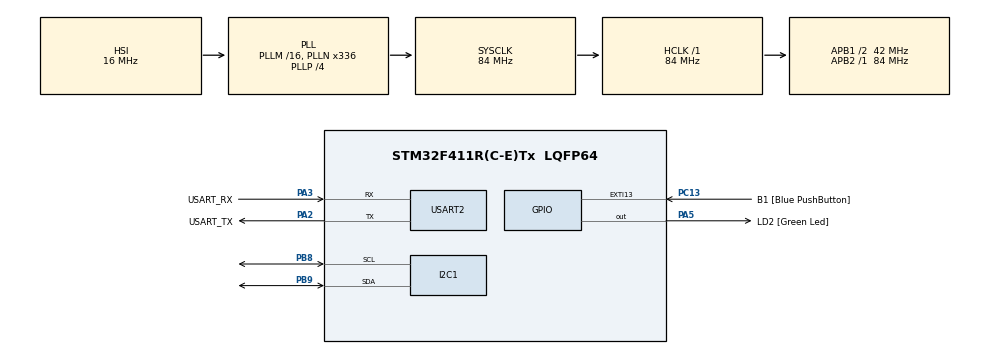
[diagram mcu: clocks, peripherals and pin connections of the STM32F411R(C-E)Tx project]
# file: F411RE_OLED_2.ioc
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Mcu.Family=STM32F4
Mcu.Name=STM32F411R(C-E)Tx
Mcu.Package=LQFP64
NVIC.PriorityGroup=NVIC_PRIORITYGROUP_0
PA13.GPIO_Label=TMS
PA13.Mode=Serial_Wire
PA13.Signal=SYS_JTMS-SWDIO
PA14.GPIO_Label=TCK
PA14.Mode=Serial_Wire
PA14.Signal=SYS_JTCK-SWCLK
PA2.GPIO_Label=USART_TX
PA2.Mode=Asynchronous
PA2.Signal=USART2_TX
PA3.GPIO_Label=USART_RX
PA3.Mode=Asynchronous
PA3.Signal=USART2_RX
PA5.GPIO_Label=LD2 [Green Led]
PA5.Signal=GPIO_Output
PB3.GPIO_Label=SWO
PB3.Signal=SYS_JTDO-SWO
PB8.GPIO_Pu=GPIO_PULLUP
PB8.Mode=I2C
PB8.Signal=I2C1_SCL
PB9.GPIO_Pu=GPIO_PULLUP
PB9.Mode=I2C
PB9.Signal=I2C1_SDA
PC13-ANTI_TAMP.GPIO_Label=B1 [Blue PushButton]
PC13-ANTI_TAMP.GPIO_ModeDefaultEXTI=GPIO_MODE_IT_FALLING
PC13-ANTI_TAMP.Signal=GPXTI13
PC14-OSC32_IN.Mode=LSE-External-Oscillator
PC14-OSC32_IN.Signal=RCC_OSC32_IN
PC15-OSC32_OUT.Mode=LSE-External-Oscillator
PC15-OSC32_OUT.Signal=RCC_OSC32_OUT
PH0\ -\ OSC_IN.Mode=HSE-External-Clock-Source
PH0\ -\ OSC_IN.Signal=RCC_OSC_IN
PH1\ -\ OSC_OUT.Mode=HSE-External-Clock-Source
PH1\ -\ OSC_OUT.Signal=RCC_OSC_OUT
ProjectManager.HeapSize=0x200
ProjectManager.StackSize=0x400
ProjectManager.TargetToolchain=STM32CubeIDE
RCC.48MHZClocksFreq_Value=84000000
RCC.AHBFreq_Value=84000000
RCC.APB1CLKDivider=RCC_HCLK_DIV2
RCC.APB1Freq_Value=42000000
RCC.APB1TimFreq_Value=84000000
RCC.APB2Freq_Value=84000000
RCC.APB2TimFreq_Value=84000000
RCC.CortexFreq_Value=84000000
RCC.FLatency-AdvancedSettings=FLASH_LATENCY_2
RCC.HCLKFreq_Value=84000000
RCC.HSE_VALUE=8000000
RCC.HSI_VALUE=16000000
RCC.PLLN=336
RCC.PLLP=RCC_PLLP_DIV4
RCC.SYSCLKFreq_VALUE=84000000
RCC.SYSCLKSource=RCC_SYSCLKSOURCE_PLLCLK
RCC.VCOOutputFreq_Value=336000000
USART2.VirtualMode=VM_ASYNC
board=NUCLEO-F411RE

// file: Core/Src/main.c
/* USER CODE BEGIN Header */
/**
 ******************************************************************************
 * @file           : main.c
 * @brief          : Main program body
 ******************************************************************************
 * @attention
 *
 * Copyright (c) 2025 STMicroelectronics.
 * All rights reserved.
 *
 * This software is licensed under terms that can be found in the LICENSE file
 * in the root directory of this software component.
 * If no LICENSE file comes with this software, it is provided AS-IS.
 *
 ******************************************************************************
 */
/* USER CODE END Header */
#include "main.h"
#include "i2c.h"
#include "usart.h"
#include "gpio.h"

/* USER CODE BEGIN Includes */
#include <stdio.h>
#include <string.h>
/* USER CODE END Includes */

void SystemClock_Config(void);

/* USER CODE BEGIN 0 */
int __io_putchar(int chr){
	HAL_UART_Transmit(&huart2, (uint8_t*)&chr,1, HAL_MAX_DELAY);
	return chr;
}

void I2C_Scan(void) {
	HAL_StatusTypeDef result;
	uint8_t i;
	printf("Scanning I2C bus...\r\n");

	for (i = 1; i < 128; i++) {
		// Tester si un périphérique répond à l'adresse i (décalée pour 7 bits)
		result = HAL_I2C_IsDeviceReady(&hi2c1, (uint16_t)(i << 1), 2, 100);
		if (result == HAL_OK) {
			printf("Device found at address 0x%02X\r\n", i);
		}
	}
	printf("Scan completed.\r\n");
}

/* USER CODE END 0 */

int main(void)
{

	/* MCU Configuration--------------------------------------------------------*/

	/* Reset of all peripherals, Initializes the Flash interface and the Systick. */
	HAL_Init();

	/* Configure the system clock */
	SystemClock_Config();

	/* Initialize all configured peripherals */
	MX_GPIO_Init();
	MX_USART2_UART_Init();
	MX_I2C1_Init();
	/* USER CODE BEGIN 2 */
	printf("Test UART: Hello, World!\r\n");
	HAL_Delay(1000);
	printf("Starting I2C scan...\r\n");
	I2C_Scan();
	HAL_Delay(1000);
	printf("Initializing OLED...\r\n");
	OLED_Init();
	OLED_Clear();
	printf("Displaying 'bitmap' on OLED...\r\n");
//	OLED_DisplayString("HELLO", 2, 0); // Afficher "HELLO" sur la page 2, colonne 0
//	OLED_DisplayString("WORLD", 4, 0); // Afficher "WORLD" sur la page 4, colonne 0
//	OLED_DisplayString("BITE", 6, 0); // Afficher "WORD" sur la page 4, colonne 0
	OLED_DisplayBitmap();

	printf("OLED initialized.\r\n");

	/* USER CODE END 2 */

	/* Infinite loop */
	while (1)
	{

	}
}

void SystemClock_Config(void)
{
	RCC_OscInitTypeDef RCC_OscInitStruct = {0};
	RCC_ClkInitTypeDef RCC_ClkInitStruct = {0};

	/** Configure the main internal regulator output voltage
	 */
	__HAL_RCC_PWR_CLK_ENABLE();
	__HAL_PWR_VOLTAGESCALING_CONFIG(PWR_REGULATOR_VOLTAGE_SCALE1);

	/** Initializes the RCC Oscillators according to the specified parameters
	 * in the RCC_OscInitTypeDef structure.
	 */
	RCC_OscInitStruct.OscillatorType = RCC_OSCILLATORTYPE_HSI;
	RCC_OscInitStruct.HSIState = RCC_HSI_ON;
	RCC_OscInitStruct.HSICalibrationValue = RCC_HSICALIBRATION_DEFAULT;
	RCC_OscInitStruct.PLL.PLLState = RCC_PLL_ON;
	RCC_OscInitStruct.PLL.PLLSource = RCC_PLLSOURCE_HSI;
	RCC_OscInitStruct.PLL.PLLM = 16;
	RCC_OscInitStruct.PLL.PLLN = 336;
	RCC_OscInitStruct.PLL.PLLP = RCC_PLLP_DIV4;
	RCC_OscInitStruct.PLL.PLLQ = 4;
	if (HAL_RCC_OscConfig(&RCC_OscInitStruct) != HAL_OK)
	{
		Error_Handler();
	}

	/** Initializes the CPU, AHB and APB buses clocks
	 */
	RCC_ClkInitStruct.ClockType = RCC_CLOCKTYPE_HCLK|RCC_CLOCKTYPE_SYSCLK
			|RCC_CLOCKTYPE_PCLK1|RCC_CLOCKTYPE_PCLK2;
	RCC_ClkInitStruct.SYSCLKSource = RCC_SYSCLKSOURCE_PLLCLK;
	RCC_ClkInitStruct.AHBCLKDivider = RCC_SYSCLK_DIV1;
	RCC_ClkInitStruct.APB1CLKDivider = RCC_HCLK_DIV2;
	RCC_ClkInitStruct.APB2CLKDivider = RCC_HCLK_DIV1;

	if (HAL_RCC_ClockConfig(&RCC_ClkInitStruct, FLASH_LATENCY_2) != HAL_OK)
	{
		Error_Handler();
	}
}

void Error_Handler(void)
{
	__disable_irq();
	while (1)
	{
	}
}
